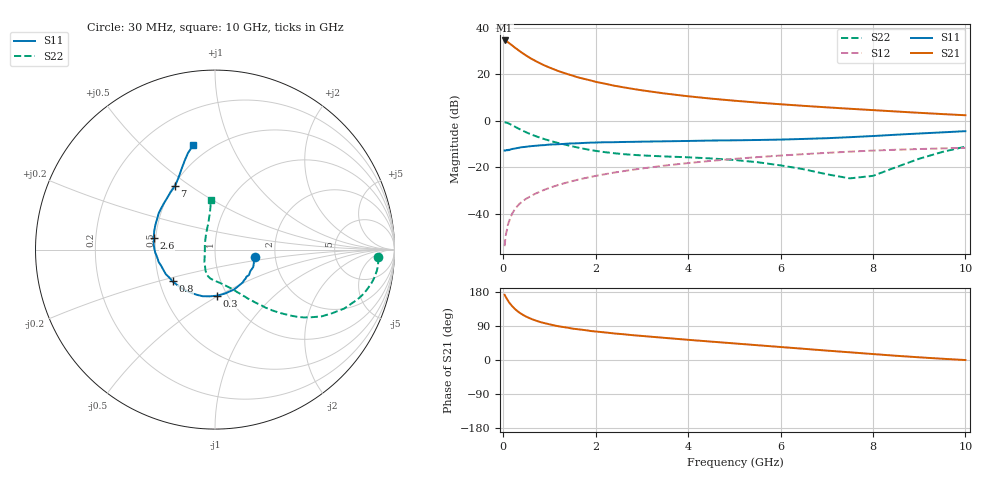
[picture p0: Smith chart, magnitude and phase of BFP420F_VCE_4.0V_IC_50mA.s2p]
! Infineon Technologies  Discrete & RF Semiconductors
! BFP420F
! VCE =  4.0 V,  IC =  50 mA
! Common Emitter S-Parameters:  Sep 2011
# GHz  S  MA  R  50
!  f  S11  S21  S12  S22
! GHz  MAG  ANG  MAG  ANG  MAG  ANG  MAG  ANG
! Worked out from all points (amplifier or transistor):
!   54 points, 30 MHz to 10 GHz, reference 50 ohm
!   highest |S21| = 34.5 dB at 30 MHz (marker M1)
!   |S21| within 3 dB of that: start of sweep to 247.3 MHz
!   unconditionally stable (mu >= 1): 1.314 GHz to end of sweep
!   at 120 MHz: K = 0.47, MSG = 38.5 dB, |S12| = -43.6 dB
!   at 1.3 GHz: K = 1.00, MSG = 23.8 dB, |S12| = -27.0 dB
!   at 10 GHz: K = 1.21, MAG = 4.2 dB, |S12| = -11.7 dB
!   S11 on the Smith chart (normalised r, x): 30 MHz: 1.57, -0.13; 300 MHz: 0.90, -0.49; 800 MHz: 0.58, -0.23; 2.6 GHz: 0.49, +0.07; 7 GHz: 0.51, +0.44; 10 GHz: 0.41, +0.73
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0.03  0.2278 -10.0  53 172.0  0.002 81.3  0.9104 -2.6
0.06  0.2296 -19.6  51.43 165.4  0.0036 80.2  0.9093 -7.5
0.1  0.2336 -34.6  48.85 157.1  0.0057 79.3  0.8838 -13.3
0.12  0.2316 -40.7  47.2 153.3  0.0066 77.4  0.8675 -15.9
0.15  0.2395 -50.2  44.68 148.4  0.0081 77.2  0.8398 -19.4
0.2  0.2467 -64.3  40.9 141.3  0.0103 75.9  0.7924 -24.4
0.25  0.2507 -76.8  37.34 135.0  0.0123 73.7  0.7442 -28.4
0.3  0.2571 -87.4  34.4 129.7  0.0143 72.8  0.7016 -32.0
0.35  0.2623 -96.8  31.56 125.1  0.0162 71.7  0.6598 -34.8
0.4  0.2686 -104.7  29.07 121.1  0.0178 70.8  0.6238 -37.3
0.5  0.275 -117.6  24.96 114.3  0.021 69.9  0.5596 -41.1
0.6  0.2828 -128.3  21.69 108.8  0.024 69.5  0.5067 -44.2
0.8  0.2952 -143.3  17.05 100.2  0.0299 69.1  0.4292 -48.9
1  0.3061 -153.3  13.88 94.2  0.0358 69.1  0.372 -52.6
1.2  0.3115 -161.6  11.58 88.9  0.0416 68.8  0.3287 -56.1
1.7  0.3297 -175.4  8.136 79.9  0.0561 67.6  0.2533 -64.1
2.6  0.3481 169.2  5.213 68.0  0.082 64.0  0.1904 -80.2
3.5  0.3597 157.4  3.832 58.3  0.1081 59.3  0.1698 -93.3
5.5  0.3836 138.3  2.448 39.0  0.1643 46.8  0.1279 -114.5
7  0.4191 122.1  1.932 24.8  0.2028 36.7  0.0703 -145.0
8.5  0.4981 111.3  1.574 11.2  0.2369 25.9  0.1 120.0
10  0.5941 101.8  1.307 -0.1  0.2607 16.4  0.2765 94.6
